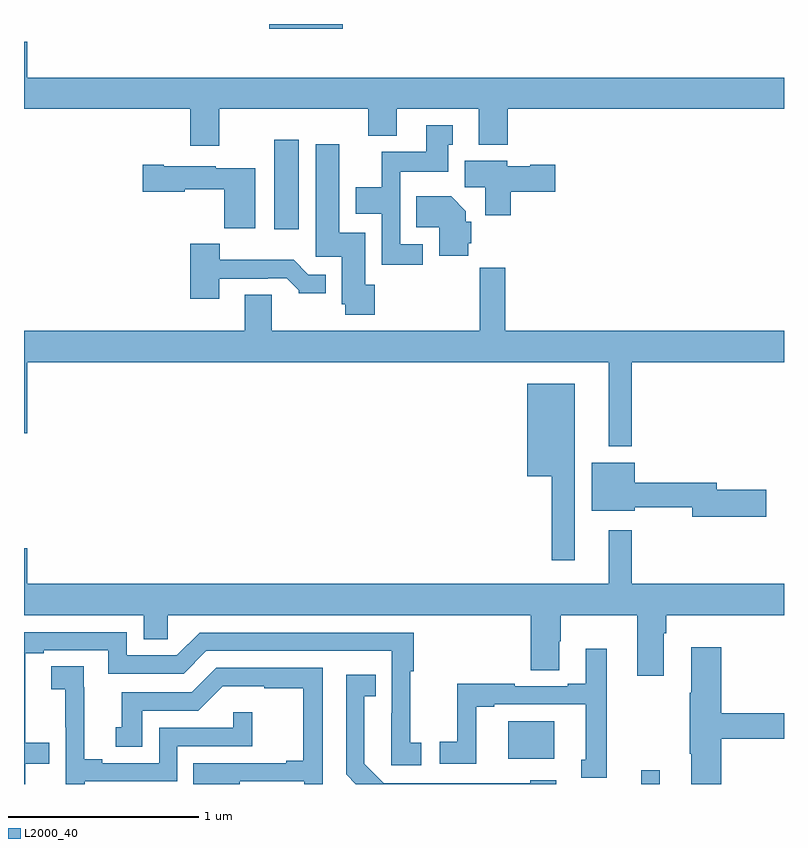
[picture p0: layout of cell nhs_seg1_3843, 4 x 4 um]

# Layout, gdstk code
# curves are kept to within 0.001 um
import gdstk
lib = gdstk.Library(unit=1e-6, precision=1e-09)
def R(c, l, rs):  # rectangles x0, y0, x1, y1
    for r in rs: c.add(gdstk.rectangle(r[:2], r[2:], *l))
def P(c, l, *ps):  # polygons
    for p in ps: c.add(gdstk.Polygon(p, *l))
L2000_40 = (2000, 40)

nhs_seg1_3843 = lib.new_cell('nhs_seg1_3843')
R(nhs_seg1_3843, L2000_40, [(324.249,528.199,324.346,528.271), (323.549,528.332,323.791,528.529), (322.316,531.12,322.447,531.589), (322.29,532.175,322.678,532.199)])
P(nhs_seg1_3843, L2000_40, [(322.027,531.752),(322.811,531.752),(322.811,531.611),(322.963,531.611),(322.963,531.752),(323.393,531.752),(323.393,531.563),(323.546,531.563),(323.546,531.752),(325,531.752),(325,531.916),(321.016,531.916),(321.016,532.105),(321,532.105),(321,531.752),(321.875,531.752),(321.875,531.558),(322.027,531.558)],
  [(323.098,531.039),(322.98,531.039),(322.98,531.422),(323.233,531.422),(323.233,531.564),(323.257,531.564),(323.257,531.667),(323.117,531.667),(323.117,531.526),(322.882,531.526),(322.882,531.34),(322.745,531.34),(322.745,531.2),(322.884,531.2),(322.884,530.931),(323.098,530.931)],
  [(322.847,530.826),(322.795,530.826),(322.795,531.1),(322.66,531.1),(322.66,531.565),(322.535,531.565),(322.535,530.973),(322.673,530.973),(322.673,530.724),(322.69,530.724),(322.69,530.67),(322.847,530.67)],
  [(323.561,531.317),(323.797,531.317),(323.797,531.459),(323.664,531.459),(323.664,531.451),(323.544,531.451),(323.544,531.478),(323.321,531.478),(323.321,531.34),(323.428,531.34),(323.428,531.192),(323.561,531.192)],
  [(322.216,531.439),(322.008,531.439),(322.008,531.451),(321.736,531.451),(321.736,531.459),(321.624,531.459),(321.624,531.317),(321.846,531.317),(321.846,531.329),(322.054,531.329),(322.054,531.125),(322.216,531.125)],
  [(323.339,531.045),(323.354,531.045),(323.354,531.159),(323.326,531.159),(323.326,531.214),(323.248,531.292),(323.065,531.292),(323.065,531.128),(323.186,531.128),(323.186,530.978),(323.339,530.978)],
  [(322.027,530.859),(322.283,530.859),(322.283,530.862),(322.382,530.862),(322.446,530.798),(322.446,530.783),(322.588,530.783),(322.588,530.88),(322.497,530.88),(322.419,530.959),(322.03,530.959),(322.03,531.043),(321.875,531.043),(321.875,530.754),(322.027,530.754)],
  [(324.199,530.42),(325,530.42),(325,530.584),(323.534,530.584),(323.534,530.917),(323.398,530.917),(323.398,530.584),(322.303,530.584),(322.303,530.774),(322.163,530.774),(322.163,530.584),(321,530.584),(321,530.046),(321.016,530.046),(321.016,530.42),(324.077,530.42),(324.077,529.976),(324.199,529.976)],
  [(323.899,530.305),(323.648,530.305),(323.648,529.82),(323.778,529.82),(323.778,529.377),(323.899,529.377)],
  [(324.907,529.748),(324.646,529.748),(324.646,529.784),(324.214,529.784),(324.214,529.891),(323.987,529.891),(323.987,529.637),(324.214,529.637),(324.214,529.656),(324.518,529.656),(324.518,529.606),(324.907,529.606)],
  [(324.367,528.992),(324.38,528.992),(324.38,529.088),(325,529.088),(325,529.252),(324.199,529.252),(324.199,529.534),(324.077,529.534),(324.077,529.252),(321.016,529.252),(321.016,529.441),(321,529.441),(321,529.088),(321.629,529.088),(321.629,528.961),(321.756,528.961),(321.756,529.088),(323.666,529.088),(323.666,528.799),(323.818,528.799),(323.818,528.95),(323.826,528.95),(323.826,529.088),(324.227,529.088),(324.227,528.768),(324.367,528.768)],
  [(321.006,528.306),(321.134,528.306),(321.134,528.415),(321.007,528.415),(321.007,528.888),(321.103,528.888),(321.103,528.903),(321.444,528.903),(321.444,528.78),(321.84,528.78),(321.96,528.9),(322.935,528.9),(322.934,528.297),(323.092,528.297),(323.092,528.417),(323.034,528.417),(323.034,528.793),(323.051,528.793),(323.051,528.996),(321.924,528.996),(321.804,528.876),(321.54,528.876),(321.54,528.999),(321,528.999),(321,528.199),(321.006,528.199)],
  [(324.671,528.436),(325,528.436),(325,528.572),(324.671,528.572),(324.671,528.919),(324.512,528.919),(324.512,528.68),(324.505,528.68),(324.505,528.359),(324.512,528.359),(324.512,528.199),(324.671,528.199)],
  [(324.067,528.91),(323.957,528.91),(323.957,528.727),(323.861,528.727),(323.861,528.714),(323.582,528.714),(323.582,528.727),(323.281,528.727),(323.281,528.422),(323.187,528.422),(323.187,528.306),(323.38,528.306),(323.38,528.606),(323.476,528.606),(323.476,528.618),(323.957,528.618),(323.957,528.327),(323.933,528.327),(323.933,528.233),(324.067,528.233)],
  [(321.32,528.213),(321.807,528.213),(321.807,528.399),(322.202,528.399),(322.202,528.577),(322.101,528.577),(322.101,528.495),(321.711,528.495),(321.711,528.309),(321.412,528.309),(321.412,528.329),(321.316,528.329),(321.316,528.707),(321.314,528.707),(321.314,528.818),(321.144,528.818),(321.144,528.697),(321.218,528.697),(321.218,528.499),(321.219,528.499),(321.219,528.199),(321.32,528.199)],
  [(322.135,528.213),(322.476,528.213),(322.476,528.199),(322.572,528.199),(322.572,528.81),(322.011,528.81),(321.882,528.681),(321.515,528.681),(321.515,528.498),(321.482,528.498),(321.482,528.394),(321.622,528.394),(321.622,528.585),(321.918,528.585),(322.046,528.713),(322.265,528.713),(322.265,528.702),(322.471,528.702),(322.471,528.322),(322.379,528.322),(322.379,528.309),(321.892,528.309),(321.892,528.199),(322.135,528.199)],
  [(323.8,528.22),(323.664,528.22),(323.664,528.204),(322.893,528.204),(322.792,528.305),(322.792,528.662),(322.85,528.662),(322.85,528.775),(322.695,528.775),(322.695,528.25),(322.746,528.199),(323.8,528.199)])

lib.write_gds('nhs_seg1_3843.gds')
